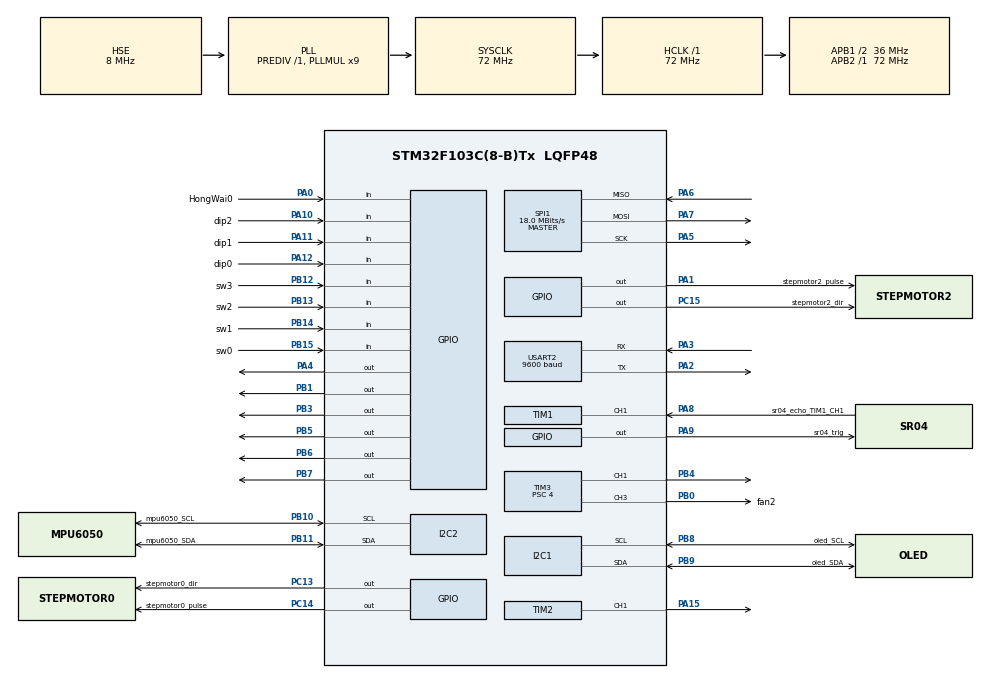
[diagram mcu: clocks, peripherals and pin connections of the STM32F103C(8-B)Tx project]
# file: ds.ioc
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I2C1.I2C_Mode=I2C_Fast
I2C2.I2C_Mode=I2C_Fast
Mcu.Family=STM32F1
Mcu.Name=STM32F103C(8-B)Tx
Mcu.Package=LQFP48
NVIC.PriorityGroup=NVIC_PRIORITYGROUP_4
NVIC.TIM1_CC_IRQn=true\:0\:0\:false\:false\:true\:true\:true\:true
NVIC.TIM1_UP_IRQn=true\:0\:0\:false\:false\:true\:true\:true\:true
NVIC.TIM4_IRQn=true\:0\:0\:false\:false\:true\:true\:true\:true
NVIC.USART2_IRQn=true\:0\:0\:false\:false\:true\:true\:true\:true
PA0-WKUP.GPIO_Label=HongWai0
PA0-WKUP.Signal=GPIO_Input
PA1.GPIO_Label=stepmotor2_pulse
PA1.Signal=GPIO_Output
PA10.GPIO_Label=dip2
PA10.GPIO_PuPd=GPIO_NOPULL
PA10.Signal=GPIO_Input
PA11.GPIO_Label=dip1
PA11.GPIO_PuPd=GPIO_NOPULL
PA11.Signal=GPIO_Input
PA12.GPIO_Label=dip0
PA12.GPIO_PuPd=GPIO_NOPULL
PA12.Signal=GPIO_Input
PA13.Mode=Serial_Wire
PA13.Signal=SYS_JTMS-SWDIO
PA14.Mode=Serial_Wire
PA14.Signal=SYS_JTCK-SWCLK
PA15.Signal=S_TIM2_CH1_ETR
PA2.Mode=Asynchronous
PA2.Signal=USART2_TX
PA3.Mode=Asynchronous
PA3.Signal=USART2_RX
PA4.Signal=GPIO_Output
PA5.Mode=Full_Duplex_Master
PA5.Signal=SPI1_SCK
PA6.Mode=Full_Duplex_Master
PA6.Signal=SPI1_MISO
PA7.Mode=Full_Duplex_Master
PA7.Signal=SPI1_MOSI
PA8.GPIO_Label=sr04_echo_TIM1_CH1
PA8.Signal=S_TIM1_CH1
PA9.GPIO_Label=sr04_trig
PA9.Signal=GPIO_Output
PB0.GPIO_Label=fan2
PB0.Signal=S_TIM3_CH3
PB1.Signal=GPIO_Output
PB10.GPIO_Label=mpu6050_SCL
PB10.Mode=I2C
PB10.Signal=I2C2_SCL
PB11.GPIO_Label=mpu6050_SDA
PB11.Mode=I2C
PB11.Signal=I2C2_SDA
PB12.GPIO_Label=sw3
PB12.Signal=GPIO_Input
PB13.GPIO_Label=sw2
PB13.Signal=GPIO_Input
PB14.GPIO_Label=sw1
PB14.Signal=GPIO_Input
PB15.GPIO_Label=sw0
PB15.Signal=GPIO_Input
PB3.Signal=GPIO_Output
PB4.Signal=S_TIM3_CH1
PB5.Signal=GPIO_Output
PB6.Signal=GPIO_Output
PB7.Signal=GPIO_Output
PB8.GPIO_Label=oled_SCL
PB8.Mode=I2C
PB8.Signal=I2C1_SCL
PB9.GPIO_Label=oled_SDA
PB9.Mode=I2C
PB9.Signal=I2C1_SDA
PC13-TAMPER-RTC.GPIO_Label=stepmotor0_dir
PC13-TAMPER-RTC.Signal=GPIO_Output
PC14-OSC32_IN.GPIO_Label=stepmotor0_pulse
PC14-OSC32_IN.Signal=GPIO_Output
PC15-OSC32_OUT.GPIO_Label=stepmotor2_dir
PC15-OSC32_OUT.Signal=GPIO_Output
PD0-OSC_IN.Mode=HSE-External-Oscillator
PD0-OSC_IN.Signal=RCC_OSC_IN
PD1-OSC_OUT.Mode=HSE-External-Oscillator
PD1-OSC_OUT.Signal=RCC_OSC_OUT
ProjectManager.HeapSize=0x200
ProjectManager.StackSize=0x400
ProjectManager.TargetToolchain=STM32CubeIDE
RCC.AHBFreq_Value=72000000
RCC.APB1CLKDivider=RCC_HCLK_DIV2
RCC.APB1Freq_Value=36000000
RCC.APB1TimFreq_Value=72000000
RCC.APB2Freq_Value=72000000
RCC.APB2TimFreq_Value=72000000
RCC.HCLKFreq_Value=72000000
RCC.PLLMUL=RCC_PLL_MUL9
RCC.PLLSourceVirtual=RCC_PLLSOURCE_HSE
RCC.SYSCLKFreq_VALUE=72000000
RCC.SYSCLKSource=RCC_SYSCLKSOURCE_PLLCLK
RCC.USBFreq_Value=72000000
SH.S_TIM1_CH1.0=TIM1_CH1,Input_Capture1_from_TI1
SH.S_TIM2_CH1_ETR.0=TIM2_CH1,PWM Generation1 CH1
SH.S_TIM3_CH1.0=TIM3_CH1,PWM Generation1 CH1
SH.S_TIM3_CH3.0=TIM3_CH3,PWM Generation3 CH3
SPI1.BaudRatePrescaler=SPI_BAUDRATEPRESCALER_4
SPI1.CalculateBaudRate=18.0 MBits/s
SPI1.Direction=SPI_DIRECTION_2LINES
SPI1.Mode=SPI_MODE_MASTER
SPI1.VirtualType=VM_MASTER
TIM1.Channel-Input_Capture1_from_TI1=TIM_CHANNEL_1
TIM1.Period=1000
TIM1.Prescaler=72
TIM2.Channel-PWM\ Generation1\ CH1=TIM_CHANNEL_1
TIM2.Period=1000
TIM2.Prescaler=4
TIM3.Channel-PWM\ Generation1\ CH1=TIM_CHANNEL_1
TIM3.Channel-PWM\ Generation3\ CH3=TIM_CHANNEL_3
TIM3.Period=1000
TIM3.Prescaler=4
TIM4.Period=1000
TIM4.Prescaler=575
USART2.BaudRate=9600
USART2.VirtualMode=VM_ASYNC
VP_TIM1_VS_ClockSourceINT.Mode=Internal
VP_TIM4_VS_ClockSourceINT.Mode=Internal
board=custom

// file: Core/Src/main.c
/* USER CODE BEGIN Header */
/**
  ******************************************************************************
  * @file           : main.c
  * @brief          : Main program body
  ******************************************************************************
  * @attention
  *
  * Copyright (c) 2024 STMicroelectronics.
  * All rights reserved.
  *
  * This software is licensed under terms that can be found in the LICENSE file
  * in the root directory of this software component.
  * If no LICENSE file comes with this software, it is provided AS-IS.
  *
  ******************************************************************************
  */
/* USER CODE END Header */
#include "main.h"
#include "i2c.h"
#include "spi.h"
#include "tim.h"
#include "usart.h"
#include "gpio.h"

/* USER CODE BEGIN Includes */
#include "mpu6050.h"
#include "ssd1306.h"
#include "UI.h"
#include "sr04.h"
#include "IR.h"
#include "IR.h"
#include "VL53L0X.h"
#include "stepmotor.h"
#include "delay_us.h"
#include "fan.h"
#include "PID.h"
#include "tasks.h"
#include "sercom.h"
#include "tfluna_i2c.h"
#include "beep.h"
#include "stdio.h"
#include "string.h"
#include "irtm.h"
#include "icm20948.h"
/* USER CODE END Includes */

/* USER CODE BEGIN PV */
uint16_t tof_distance;
uint8_t key;
extern char buf[32];
statInfo_t_VL53L0X distanceStr;
#define stepmotor_music_notes 57
int last_time = 0;
int stepmotor_music_delay = 250;
int stepmotor_music_frequency[16] = {0, 523, 587, 659, 698, 783, 880, 987, 1046, 1175, 1319, 1397, 1568, 1760, 1976, 2093};
int stepmotor_music_cirno[stepmotor_music_notes] = {2, 3, 4, 5, 6, 6, 6, 6, 4, 6, 4, 3, 2, 2, 2, 2, 0, 2, 5, 6, 9, 9, 9, 9, 8, 9, 8, 5, 6, 6, 6, 0};
int music1[stepmotor_music_notes] = { 10, 10, 12, 13, 13, 13, 12, 13, 12, 10, 9, 12, 10, 10, 10, 10, 10, 0, 10, 10, 12, 13, 13,13, 12, 13, 15, 14, 13,12,13,13,13, 0};
int music2[stepmotor_music_notes] = {8,8,8,8,8,8,8,0, 10, 11,0, 12, 13,13,0, 12, 0, 12,0,15,15,0};
int music3[stepmotor_music_notes] = {3,3,4,5,5,5,4,3,2,1,1,2,3,3,2,2,0};
int music_senrenbanka[stepmotor_music_notes] = {10,12,13,13,12,13,10,10,10,10,10,13,13,12,13,12,10,10,9,9,10,12,13,13,10,10,9,8,9,10,6,6,6,6,10,10,9,10,6,6,6,6,6,9,9,10,9,8,8,9,10,10,10,10,10,10,10};
int stepmotor_music_index = 0;
uint32_t perf_time;
double fan_speed = 0;
//PID_Incremental fan_pid;
PID_Base fan_pid;
float pidout;
uint8_t sercom_rx_buf[8];
uint8_t count = 0;

//Fan motor0;
//Fan motor1;
Fan_gpio motor0;
Fan_gpio motor1;

TF_Luna_Lidar TF_Luna_1;
// device variables passed back by getData
int16_t  tfDist = 0 ;   // distance in centimeters
int16_t  tfFlux = 0 ;   // signal quality in arbitrary units
int16_t  tfTemp = 0 ;   // temperature in 0.01 degree Celsius

float tube_max = 55.20;
float convert_pos = 0;
float last_convert_pos = 0;
float convert_pos_in_second = 0;
float motor0_speed = 0;
float motor1_speed = 0;
uint32_t tick = 0;
uint8_t flag = 0;
axises my_gyro;
axises my_accel;
axises my_mag;
/* USER CODE END PV */

void SystemClock_Config(void);

int main(void)
{

  /* MCU Configuration--------------------------------------------------------*/

  /* Reset of all peripherals, Initializes the Flash interface and the Systick. */
  HAL_Init();

  /* Configure the system clock */
  SystemClock_Config();

  /* Initialize all configured peripherals */
  MX_GPIO_Init();
  MX_I2C1_Init();
  MX_I2C2_Init();
  MX_TIM1_Init();
  MX_TIM2_Init();
  MX_USART2_UART_Init();
  MX_TIM4_Init();
  MX_TIM3_Init();
  MX_SPI1_Init();
  /* USER CODE BEGIN 2 */

  ssd1306_Init();
  UI_init();

//
    // sr04�������
//    sr04.trig_port = GPIOA;
//    sr04.trig_pin = GPIO_PIN_9;
//    sr04.echo_htim = &htim1;
//    sr04.echo_channel = TIM_CHANNEL_1;
//    sr04.use_lowpass_filter = 1;
//    sr04.lowpass_factor = 0.3f;
//    sr04_init(&sr04);

    // vl53l0x tof
//    initVL53L0X(1, &hi2c2);
//
//    // Configure the sensor for high accuracy and speed in 20 cm.
//    setSignalRateLimit(200);
//    setVcselPulsePeriod(VcselPeriodPreRange, 6);
//    setVcselPulsePeriod(VcselPeriodFinalRange, 12);
//    setMeasurementTimingBudget(500 * 1000UL);

    // ����
//    HAL_UART_Receive_IT(&huart2, sercom_rx_buf, 1);

    // tim��ʱ��
//    HAL_TIM_Base_Start_IT(&htim1);
//    HAL_TIM_Base_Start_IT(&htim4);
//    for(stepmotor_music_index = 0; stepmotor_music_index < stepmotor_music_notes; stepmotor_music_index++){
//        beep_set_frequency(&beep, stepmotor_music_frequency[music2[stepmotor_music_index]]);
//        HAL_Delay(200);
//    }
//    fan_init(&motor0, &htim2, TIM_CHANNEL_1, TIM_CHANNEL_2);
//    fan_init(&motor1, &htim3, TIM_CHANNEL_3, TIM_CHANNEL_4);

    UI_show();
    tick = HAL_GetTick();
    icm20948_init();
    ak09916_init();
    HAL_TIM_Base_Start_IT(&htim4);
  /* USER CODE END 2 */

  /* Infinite loop */
  /* USER CODE BEGIN WHILE */
  while (1)
  {
      UI_show();
      UI_key_process();

    /* USER CODE END WHILE */

  }
}

void SystemClock_Config(void)
{
  RCC_OscInitTypeDef RCC_OscInitStruct = {0};
  RCC_ClkInitTypeDef RCC_ClkInitStruct = {0};

  /** Initializes the RCC Oscillators according to the specified parameters
  * in the RCC_OscInitTypeDef structure.
  */
  RCC_OscInitStruct.OscillatorType = RCC_OSCILLATORTYPE_HSE;
  RCC_OscInitStruct.HSEState = RCC_HSE_ON;
  RCC_OscInitStruct.HSEPredivValue = RCC_HSE_PREDIV_DIV1;
  RCC_OscInitStruct.HSIState = RCC_HSI_ON;
  RCC_OscInitStruct.PLL.PLLState = RCC_PLL_ON;
  RCC_OscInitStruct.PLL.PLLSource = RCC_PLLSOURCE_HSE;
  RCC_OscInitStruct.PLL.PLLMUL = RCC_PLL_MUL9;
  if (HAL_RCC_OscConfig(&RCC_OscInitStruct) != HAL_OK)
  {
    Error_Handler();
  }

  /** Initializes the CPU, AHB and APB buses clocks
  */
  RCC_ClkInitStruct.ClockType = RCC_CLOCKTYPE_HCLK|RCC_CLOCKTYPE_SYSCLK
                              |RCC_CLOCKTYPE_PCLK1|RCC_CLOCKTYPE_PCLK2;
  RCC_ClkInitStruct.SYSCLKSource = RCC_SYSCLKSOURCE_PLLCLK;
  RCC_ClkInitStruct.AHBCLKDivider = RCC_SYSCLK_DIV1;
  RCC_ClkInitStruct.APB1CLKDivider = RCC_HCLK_DIV2;
  RCC_ClkInitStruct.APB2CLKDivider = RCC_HCLK_DIV1;

  if (HAL_RCC_ClockConfig(&RCC_ClkInitStruct, FLASH_LATENCY_2) != HAL_OK)
  {
    Error_Handler();
  }
}

/* USER CODE BEGIN 4 */

void HAL_UART_RxCpltCallback(UART_HandleTypeDef *huart){
    IRTM_Read(&irtm);

}
/* USER CODE END 4 */

void Error_Handler(void)
{
  __disable_irq();
  while (1)
  {
  }
}
